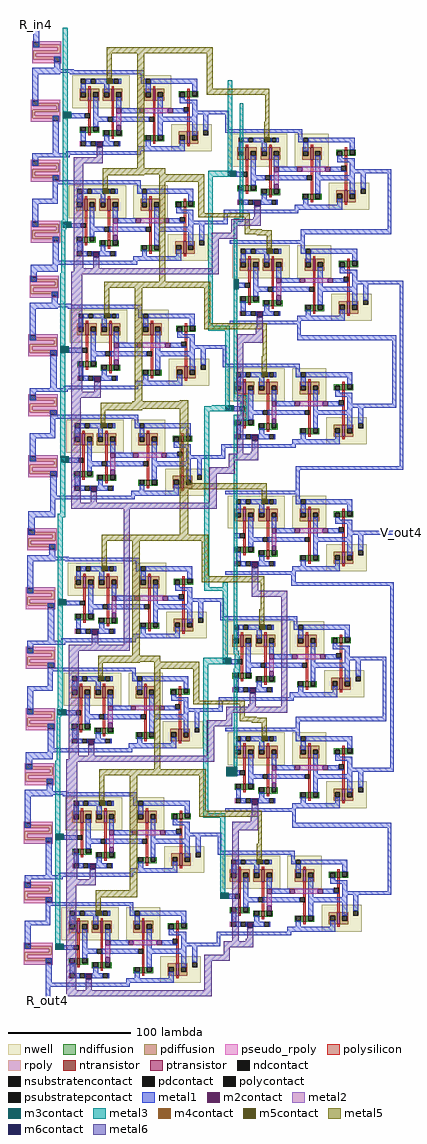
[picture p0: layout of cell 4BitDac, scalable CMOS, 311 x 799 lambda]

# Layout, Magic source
magic
tech scmos
<< metal1 >>
rect -2 403 3 404
rect 287 191 301 194
rect 298 42 301 191
rect 213 39 301 42
rect 213 20 216 39
rect -6 0 16 5
rect 162 -17 163 -13
rect 273 -14 299 -11
rect 209 -53 213 -44
rect 209 -56 293 -53
rect 290 -205 293 -56
rect 283 -208 293 -205
rect 8 -395 12 -394
<< m2contact >>
rect 162 187 166 195
rect 156 -212 165 -204
<< m3contact >>
rect 162 187 166 195
rect 156 -212 165 -204
<< metal3 >>
rect 22 397 26 401
rect 157 346 161 358
rect 167 245 170 339
rect 162 242 170 245
rect 162 195 165 242
rect 162 100 165 187
rect 162 95 173 100
rect 144 91 158 92
rect 138 87 158 91
rect 159 87 160 91
rect 20 3 24 49
rect 18 0 24 3
rect 18 -9 22 0
rect 138 -57 142 87
rect 168 84 173 95
rect 162 79 173 84
rect 138 -60 157 -57
rect 162 -109 165 79
rect 162 -112 166 -109
rect 163 -113 166 -112
rect 163 -124 167 -113
rect 162 -127 167 -124
rect 162 -204 165 -127
<< metal5 >>
rect 118 95 125 96
rect 79 89 125 95
rect 118 28 125 89
rect 118 23 189 28
rect 118 -18 125 23
<< metal6 >>
rect 72 -104 77 12
rect 177 -60 182 -48
rect 177 -65 206 -60
rect 51 -109 77 -104
rect 201 -155 206 -65
rect 173 -160 206 -155
use 3BitDac  3BitDac_0
transform 1 0 5 0 1 187
box -11 -182 290 216
use switchNew  switchNew_0
transform 1 0 86 0 1 -53
box 69 -1 187 81
use 3BitDac  3BitDac_1
transform 1 0 1 0 1 -212
box -11 -182 290 216
<< labels >>
rlabel metal1 299 -14 299 -11 7 V_out4
rlabel metal1 -2 404 3 404 5 R_in4
rlabel metal1 8 -395 12 -395 1 R_out4
<< end >>

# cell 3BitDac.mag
magic
tech scmos
<< metal1 >>
rect -7 210 -2 216
rect 272 95 286 98
rect 283 49 286 95
rect 212 45 286 49
rect 212 37 215 45
rect -9 14 13 20
rect 157 1 162 5
rect 272 4 283 7
rect 209 -38 212 -22
rect 209 -42 290 -38
rect 287 -94 290 -42
rect 270 -97 290 -94
rect 7 -182 11 -178
<< metal3 >>
rect 17 202 21 210
rect 152 150 156 159
rect 136 92 154 97
rect 16 49 20 56
rect 16 5 19 49
rect 136 -30 140 92
rect 136 -34 154 -30
rect 150 -43 154 -34
<< metal5 >>
rect 80 94 101 99
rect 96 88 133 94
rect 96 1 101 88
rect 128 62 133 88
rect 128 59 170 62
rect 166 49 170 59
rect 166 48 180 49
rect 166 45 188 48
rect 176 44 188 45
<< metal6 >>
rect 24 -87 33 14
rect 175 -37 181 -32
rect 160 -44 181 -37
rect 160 -140 165 -44
use 2BitDac  2BitDac_0
transform 1 0 -61 0 1 183
box 52 -171 333 27
use switchNew  switchNew_0
transform 1 0 85 0 1 -35
box 69 -1 187 81
use 2BitDac  2BitDac_1
transform 1 0 -63 0 1 -9
box 52 -171 333 27
<< labels >>
rlabel metal1 283 4 283 7 7 V_out3
rlabel metal1 -7 216 -2 216 5 R_in3
rlabel metal1 7 -182 11 -182 1 R_out3
<< end >>

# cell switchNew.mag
magic
tech scmos
<< nwell >>
rect 71 44 118 71
rect 124 44 152 71
rect 152 9 185 31
<< ntransistor >>
rect 165 53 167 58
rect 84 24 86 29
rect 103 21 105 26
rect 137 17 139 22
<< ptransistor >>
rect 84 50 86 60
rect 103 50 105 60
rect 137 50 139 60
rect 165 15 167 25
<< ndiffusion >>
rect 158 57 165 58
rect 158 53 159 57
rect 163 53 165 57
rect 167 54 169 58
rect 173 54 174 58
rect 167 53 174 54
rect 77 25 78 29
rect 82 25 84 29
rect 77 24 84 25
rect 86 25 88 29
rect 92 25 93 29
rect 86 24 93 25
rect 96 22 97 26
rect 101 22 103 26
rect 96 21 103 22
rect 105 22 107 26
rect 111 22 112 26
rect 105 21 112 22
rect 130 18 131 22
rect 135 18 137 22
rect 130 17 137 18
rect 139 18 141 22
rect 145 18 146 22
rect 139 17 146 18
<< pdiffusion >>
rect 77 57 84 60
rect 77 53 78 57
rect 82 53 84 57
rect 77 50 84 53
rect 86 57 93 60
rect 86 53 88 57
rect 92 53 93 57
rect 86 50 93 53
rect 96 57 103 60
rect 96 53 97 57
rect 101 53 103 57
rect 96 50 103 53
rect 105 57 112 60
rect 105 53 107 57
rect 111 53 112 57
rect 105 50 112 53
rect 130 57 137 60
rect 130 53 131 57
rect 135 53 137 57
rect 130 50 137 53
rect 139 57 146 60
rect 139 53 141 57
rect 145 53 146 57
rect 139 50 146 53
rect 158 22 165 25
rect 158 18 159 22
rect 163 18 165 22
rect 158 15 165 18
rect 167 22 174 25
rect 167 18 169 22
rect 173 18 174 22
rect 167 15 174 18
<< ndcontact >>
rect 159 53 163 57
rect 169 54 173 58
rect 78 25 82 29
rect 88 25 92 29
rect 97 22 101 26
rect 107 22 111 26
rect 131 18 135 22
rect 141 18 145 22
<< pdcontact >>
rect 78 53 82 57
rect 88 53 92 57
rect 97 53 101 57
rect 107 53 111 57
rect 131 53 135 57
rect 141 53 145 57
rect 159 18 163 22
rect 169 18 173 22
<< psubstratepcontact >>
rect 78 13 82 17
rect 86 13 90 17
rect 105 13 109 17
<< nsubstratencontact >>
rect 78 64 82 68
rect 86 64 90 68
rect 105 64 109 68
rect 131 64 135 68
rect 178 22 182 26
<< polysilicon >>
rect 84 60 86 62
rect 103 60 105 62
rect 137 60 139 62
rect 165 58 167 60
rect 84 40 86 50
rect 85 36 86 40
rect 103 37 105 50
rect 137 37 139 50
rect 165 45 167 53
rect 166 41 167 45
rect 84 29 86 36
rect 104 33 105 37
rect 138 33 139 37
rect 103 26 105 33
rect 84 22 86 24
rect 137 22 139 33
rect 165 25 167 41
rect 103 19 105 21
rect 137 15 139 17
rect 165 13 167 15
<< polycontact >>
rect 81 36 85 40
rect 162 41 166 45
rect 100 33 104 37
rect 134 33 138 37
<< metal1 >>
rect 69 72 130 75
rect 127 68 130 72
rect 82 64 86 68
rect 90 64 99 68
rect 104 64 105 68
rect 109 64 111 68
rect 127 64 131 68
rect 135 64 173 68
rect 78 57 82 64
rect 97 57 101 64
rect 131 57 135 64
rect 169 58 173 64
rect 77 36 81 40
rect 88 37 92 53
rect 107 44 111 53
rect 111 40 126 44
rect 141 37 145 53
rect 159 51 163 53
rect 159 48 173 51
rect 153 41 162 44
rect 153 40 166 41
rect 169 42 173 48
rect 169 39 187 42
rect 169 37 173 39
rect 88 33 100 37
rect 104 33 134 37
rect 141 33 173 37
rect 88 29 92 33
rect 78 17 82 25
rect 141 22 145 33
rect 169 22 173 33
rect 178 26 182 39
rect 97 17 101 22
rect 82 13 86 17
rect 90 13 91 17
rect 96 13 105 17
rect 109 13 110 17
rect 131 13 135 18
rect 159 13 163 18
rect 124 9 163 13
rect 69 6 127 9
<< m2contact >>
rect 99 64 104 68
rect 107 40 111 44
rect 126 40 130 44
rect 149 40 153 44
rect 107 26 111 30
rect 91 12 96 17
<< metal2 >>
rect 130 40 149 44
rect 107 30 111 40
<< m3contact >>
rect 99 64 104 68
rect 91 12 96 17
<< m4contact >>
rect 99 64 104 68
rect 91 12 96 17
<< m5contact >>
rect 99 64 104 68
rect 91 12 96 17
<< metal5 >>
rect 99 68 103 81
<< m6contact >>
rect 91 12 96 17
<< metal6 >>
rect 91 -1 96 12
<< pseudo_rpoly >>
rect 77 13 78 17
<< end >>

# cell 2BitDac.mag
magic
tech scmos
<< metal1 >>
rect 54 15 59 27
rect 71 -2 76 7
rect 53 -3 76 -2
rect 53 -6 87 -3
rect 53 -7 76 -6
rect 53 -33 58 -7
rect 70 -72 75 -41
rect 85 -43 92 -39
rect 201 -40 214 -37
rect 211 -52 214 -40
rect 211 -53 216 -52
rect 211 -55 213 -53
rect 81 -72 84 -70
rect 53 -75 84 -72
rect 53 -82 58 -75
rect 70 -94 75 -90
rect 330 -87 333 -85
rect 220 -91 221 -87
rect 331 -88 333 -87
rect 70 -97 90 -94
rect 70 -109 74 -97
rect 53 -113 74 -109
rect 53 -132 58 -113
rect 210 -127 213 -118
rect 85 -133 89 -129
rect 198 -130 213 -127
rect 70 -160 75 -140
rect 70 -163 82 -160
rect 70 -169 74 -163
<< m2contact >>
rect 78 -43 85 -38
rect 213 -91 220 -86
rect 78 -133 85 -128
<< m3contact >>
rect 78 -43 85 -38
rect 213 -91 220 -86
rect 78 -133 85 -128
<< metal3 >>
rect 78 -38 82 22
rect 78 -128 82 -43
rect 213 -86 217 -31
<< metal5 >>
rect 114 10 201 15
rect 114 2 118 10
rect 139 -84 145 10
rect 196 -19 201 10
rect 196 -24 247 -19
rect 244 -49 247 -24
rect 111 -90 145 -84
<< metal6 >>
rect 87 -80 110 -75
rect 87 -166 95 -80
rect 234 -126 240 -124
rect 216 -131 240 -126
rect 216 -137 221 -131
rect 200 -142 221 -137
rect 200 -166 206 -142
rect 87 -171 206 -166
use resistor  resistor_0
transform 1 0 62 0 1 9
box -9 -7 15 11
use resistor  resistor_1
transform 1 0 61 0 1 -39
box -9 -7 15 11
use resistor  resistor_2
transform 1 0 61 0 1 -88
box -9 -7 15 11
use switchNew  switchNew_0
transform 1 0 15 0 1 -79
box 69 -1 187 81
use resistor  resistor_3
transform 1 0 61 0 1 -138
box -9 -7 15 11
use switchNew  switchNew_1
transform 1 0 12 0 1 -169
box 69 -1 187 81
use switchNew  switchNew_2
transform 1 0 144 0 1 -127
box 69 -1 187 81
<< labels >>
rlabel metal1 74 -4 74 -4 1 alpha
rlabel metal1 73 -73 73 -73 1 beta
rlabel metal1 72 -111 72 -111 1 gamma
rlabel metal1 73 -158 73 -158 1 delta
rlabel metal1 333 -88 333 -85 7 V_out2
rlabel metal1 54 27 59 27 4 R_in2
rlabel metal1 70 -169 74 -169 1 R_out2
<< end >>

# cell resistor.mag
magic
tech scmos
<< polycontact >>
rect -8 6 -3 10
rect 9 -6 14 -2
<< pseudo_rpoly >>
rect -9 10 15 11
rect -9 6 -8 10
rect -3 8 15 10
rect -9 3 12 6
rect -9 -4 -8 3
rect 14 1 15 8
rect -6 -2 15 1
rect -9 -6 9 -4
rect 14 -6 15 -2
rect -9 -7 15 -6
<< rpoly >>
rect -3 6 14 8
rect 12 3 14 6
rect -8 1 14 3
rect -8 -2 -6 1
rect -8 -4 9 -2
<< labels >>
rlabel polycontact 12 -4 12 -4 8 b
rlabel polycontact -6 8 -6 8 4 a
<< end >>
